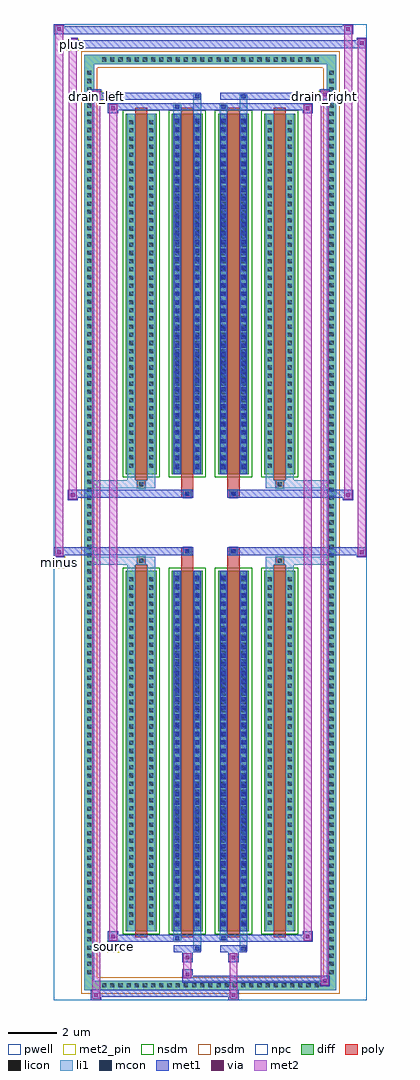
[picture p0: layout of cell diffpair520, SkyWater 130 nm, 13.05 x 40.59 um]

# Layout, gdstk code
import gdstk
lib = gdstk.Library(unit=1e-6, precision=5e-09)
def R(c, l, rs):  # rectangles x0, y0, x1, y1
    for r in rs: c.add(gdstk.rectangle(r[:2], r[2:], *l))
def A(c, l, x, y, w, h, nx, ny, dx, dy):  # array of equal rectangles
    R(c, l, [(x+i*dx, y+j*dy, x+i*dx+w, y+j*dy+h) for i in range(nx) for j in range(ny)])
def P(c, l, *ps):  # polygons
    for p in ps: c.add(gdstk.Polygon(p, *l))
pwell = (64, 44)
diff = (65, 20)
poly = (66, 20)
licon = (66, 44)
li1 = (67, 20)
mcon = (67, 44)
met1 = (68, 20)
via = (68, 44)
met2_pin = (69, 16)
met2 = (69, 20)
nsdm = (93, 44)
psdm = (94, 20)
npc = (95, 20)

diffpair520 = lib.new_cell('diffpair520')
R(diffpair520, pwell, [(-6.51,-19.86,6.51,20.73), (-3.83,-18.05,-0.01,-0.825), (0.01,-18.05,3.83,-0.825), (-3.83,0.825,-0.01,18.05), (0.01,0.825,3.83,18.05)])
A(diffpair520, diff, -4.625, -19.46, 0.41, 0.41, 27, 2, 0.34, 38.51)
A(diffpair520, diff, -5.24, -18.905, 0.41, 0.41, 1, 111, 0, 0.34)
A(diffpair520, diff, 4.83, -18.905, 0.41, 0.41, 1, 111, 0, 0.34)
A(diffpair520, diff, -3.52, -17.005, 1.28, 15, 4, 2, 1.92, 19.01)
R(diffpair520, diff, [(-4.625,-19.46,4.625,-19.05), (-5.24,-18.905,-4.83,18.905), (4.83,-18.905,5.24,18.905), (-4.625,19.05,4.625,19.46)])
P(diffpair520, diff, [(5.24,19.46),(-5.24,19.46),(-5.24,-19.05),(-4.83,-19.05),(-4.83,19.05),(4.83,19.05),(4.83,-19.05),(-4.83,-19.05),(-5.24,-19.05),(-5.24,-19.46),(5.24,-19.46)])
A(diffpair520, poly, -3.13, -17.255, 0.5, 15.5, 4, 2, 1.92, 19.01)
R(diffpair520, poly, [(-3.045,-1.755,-2.715,-1.425), (-3.045,-1.755,-2.715,-1.425), (-1.21,-1.755,-0.71,-1.355), (0.71,-1.755,1.21,-1.355), (2.715,-1.755,3.045,-1.425), (2.715,-1.755,3.045,-1.425), (-1.21,-1.355,-0.71,-1.025), (-1.125,-1.355,-0.795,-1.025), (0.71,-1.355,1.21,-1.025), (0.795,-1.355,1.125,-1.025), (-1.21,1.025,-0.71,1.355), (-1.125,1.025,-0.795,1.355), (0.71,1.025,1.21,1.355), (0.795,1.025,1.125,1.355), (-1.21,1.355,-0.71,1.755), (0.71,1.355,1.21,1.755), (-3.045,1.425,-2.715,1.755), (-3.045,1.425,-2.715,1.755), (2.715,1.425,3.045,1.755), (2.715,1.425,3.045,1.755)])
A(diffpair520, licon, -4.505, -19.34, 0.17, 0.17, 27, 2, 0.34, 38.51)
A(diffpair520, licon, -5.12, -18.785, 0.17, 0.17, 1, 111, 0, 0.34)
A(diffpair520, licon, 4.95, -18.785, 0.17, 0.17, 1, 111, 0, 0.34)
A(diffpair520, licon, -3.38, -16.73, 0.17, 0.17, 1, 43, 0, 0.34)
A(diffpair520, licon, -2.55, -16.73, 0.17, 0.17, 1, 43, 0, 0.34)
A(diffpair520, licon, -1.46, -16.73, 0.17, 0.17, 1, 43, 0, 0.34)
A(diffpair520, licon, -0.63, -16.73, 0.17, 0.17, 1, 43, 0, 0.34)
A(diffpair520, licon, 0.46, -16.73, 0.17, 0.17, 1, 43, 0, 0.34)
A(diffpair520, licon, 1.29, -16.73, 0.17, 0.17, 1, 43, 0, 0.34)
A(diffpair520, licon, 2.38, -16.73, 0.17, 0.17, 1, 43, 0, 0.34)
A(diffpair520, licon, 3.21, -16.73, 0.17, 0.17, 1, 43, 0, 0.34)
A(diffpair520, licon, -3.38, 2.28, 0.17, 0.17, 1, 43, 0, 0.34)
A(diffpair520, licon, -2.55, 2.28, 0.17, 0.17, 1, 43, 0, 0.34)
A(diffpair520, licon, -1.46, 2.28, 0.17, 0.17, 1, 43, 0, 0.34)
A(diffpair520, licon, -0.63, 2.28, 0.17, 0.17, 1, 43, 0, 0.34)
A(diffpair520, licon, 0.46, 2.28, 0.17, 0.17, 1, 43, 0, 0.34)
A(diffpair520, licon, 1.29, 2.28, 0.17, 0.17, 1, 43, 0, 0.34)
A(diffpair520, licon, 2.38, 2.28, 0.17, 0.17, 1, 43, 0, 0.34)
A(diffpair520, licon, 3.21, 2.28, 0.17, 0.17, 1, 43, 0, 0.34)
R(diffpair520, licon, [(-2.965,-1.675,-2.795,-1.505), (2.795,-1.675,2.965,-1.505), (-1.045,-1.275,-0.875,-1.105), (0.875,-1.275,1.045,-1.105), (-1.045,1.105,-0.875,1.275), (0.875,1.105,1.045,1.275), (-2.965,1.505,-2.795,1.675), (2.795,1.505,2.965,1.675)])
A(diffpair520, li1, -4.585, -19.42, 0.33, 0.33, 27, 2, 0.34, 38.51)
A(diffpair520, li1, -5.2, -18.865, 0.33, 0.33, 1, 111, 0, 0.34)
A(diffpair520, li1, 4.87, -18.865, 0.33, 0.33, 1, 111, 0, 0.34)
A(diffpair520, li1, -3.46, -16.81, 0.33, 0.33, 1, 43, 0, 0.34)
A(diffpair520, li1, -2.63, -16.81, 0.33, 0.33, 1, 43, 0, 0.34)
A(diffpair520, li1, -1.54, -16.81, 0.33, 0.33, 1, 43, 0, 0.34)
A(diffpair520, li1, -0.71, -16.81, 0.33, 0.33, 1, 43, 0, 0.34)
A(diffpair520, li1, 0.38, -16.81, 0.33, 0.33, 1, 43, 0, 0.34)
A(diffpair520, li1, 1.21, -16.81, 0.33, 0.33, 1, 43, 0, 0.34)
A(diffpair520, li1, 2.3, -16.81, 0.33, 0.33, 1, 43, 0, 0.34)
A(diffpair520, li1, 3.13, -16.81, 0.33, 0.33, 1, 43, 0, 0.34)
A(diffpair520, li1, -1.46, -16.79, 0.17, 0.17, 1, 41, 0, 0.36)
A(diffpair520, li1, -0.63, -16.79, 0.17, 0.17, 1, 41, 0, 0.36)
A(diffpair520, li1, 0.46, -16.79, 0.17, 0.17, 1, 41, 0, 0.36)
A(diffpair520, li1, 1.29, -16.79, 0.17, 0.17, 1, 41, 0, 0.36)
A(diffpair520, li1, -3.46, 2.2, 0.33, 0.33, 1, 43, 0, 0.34)
A(diffpair520, li1, -2.63, 2.2, 0.33, 0.33, 1, 43, 0, 0.34)
A(diffpair520, li1, -1.54, 2.2, 0.33, 0.33, 1, 43, 0, 0.34)
A(diffpair520, li1, -0.71, 2.2, 0.33, 0.33, 1, 43, 0, 0.34)
A(diffpair520, li1, 0.38, 2.2, 0.33, 0.33, 1, 43, 0, 0.34)
A(diffpair520, li1, 1.21, 2.2, 0.33, 0.33, 1, 43, 0, 0.34)
A(diffpair520, li1, 2.3, 2.2, 0.33, 0.33, 1, 43, 0, 0.34)
A(diffpair520, li1, 3.13, 2.2, 0.33, 0.33, 1, 43, 0, 0.34)
A(diffpair520, li1, -1.46, 2.22, 0.17, 0.17, 1, 41, 0, 0.36)
A(diffpair520, li1, -0.63, 2.22, 0.17, 0.17, 1, 41, 0, 0.36)
A(diffpair520, li1, 0.46, 2.22, 0.17, 0.17, 1, 41, 0, 0.36)
A(diffpair520, li1, 1.29, 2.22, 0.17, 0.17, 1, 41, 0, 0.36)
R(diffpair520, li1, [(-5.24,-19.46,-4.83,-19.05), (-5.24,-19.46,-4.83,-19.05), (-4.83,-19.46,4.83,-19.05), (4.83,-19.46,5.24,-19.05), (4.83,-19.46,5.24,-19.05), (-5.24,-19.05,-4.83,19.05), (4.83,-19.05,5.24,19.05), (-0.71,-17.81,-0.38,-17.005), (-0.63,-17.81,-0.46,-17.64), (1.21,-17.81,1.54,-17.005), (1.29,-17.81,1.46,-17.64), (-1.54,-17.38,-1.21,-17.005), (-1.46,-17.38,-1.29,-17.21), (0.38,-17.38,0.71,-17.005), (0.46,-17.38,0.63,-17.21), (-3.46,-17.005,-3.13,-2.005), (-2.63,-17.005,-2.3,-2.005), (-1.54,-17.005,-1.21,-2.005), (-0.71,-17.005,-0.38,-2.005), (0.38,-17.005,0.71,-2.005), (1.21,-17.005,1.54,-2.005), (2.3,-17.005,2.63,-2.005), (3.13,-17.005,3.46,-2.005), (-1.46,-16.79,-1.29,-2.22), (-0.63,-16.79,-0.46,-2.22), (0.46,-16.79,0.63,-2.22), (1.29,-16.79,1.46,-2.22), (-3.46,-2.005,-3.13,-1.425), (-2.63,-2.005,-2.3,-1.425), (2.3,-2.005,2.63,-1.425), (3.13,-2.005,3.46,-1.425), (-5.24,-1.755,-3.045,-1.425), (-3.46,-1.755,-3.045,-1.425), (-3.045,-1.755,-2.715,-1.425), (-2.715,-1.755,-2.3,-1.425), (2.3,-1.755,2.715,-1.425), (2.715,-1.755,3.045,-1.425), (2.715,-1.755,5.24,-1.425), (3.045,-1.755,3.46,-1.425), (-1.125,-1.355,-0.795,-1.025), (0.795,-1.355,1.125,-1.025), (-1.125,1.025,-0.795,1.355), (0.795,1.025,1.125,1.355), (-5.24,1.425,-3.045,1.755), (-3.46,1.425,-3.045,1.755), (-3.46,1.425,-3.13,2.005), (-3.045,1.425,-2.715,1.755), (-2.715,1.425,-2.3,1.755), (-2.63,1.425,-2.3,2.005), (2.3,1.425,2.715,1.755), (2.3,1.425,2.63,2.005), (2.715,1.425,3.045,1.755), (2.715,1.425,5.24,1.755), (3.045,1.425,3.46,1.755), (3.13,1.425,3.46,2.005), (-3.46,2.005,-3.13,17.005), (-2.63,2.005,-2.3,17.005), (-1.54,2.005,-1.21,17.005), (-0.71,2.005,-0.38,17.005), (0.38,2.005,0.71,17.005), (1.21,2.005,1.54,17.005), (2.3,2.005,2.63,17.005), (3.13,2.005,3.46,17.005), (-1.46,2.22,-1.29,16.79), (-0.63,2.22,-0.46,16.79), (0.46,2.22,0.63,16.79), (1.29,2.22,1.46,16.79), (-1.54,17.005,-1.21,17.38), (-0.71,17.005,-0.38,17.81), (0.38,17.005,0.71,17.38), (1.21,17.005,1.54,17.81), (-1.46,17.21,-1.29,17.38), (0.46,17.21,0.63,17.38), (-0.63,17.64,-0.46,17.81), (1.29,17.64,1.46,17.81), (-5.24,19.05,-4.83,19.46), (-5.24,19.05,-4.83,19.46), (-4.83,19.05,4.83,19.46), (4.83,19.05,5.24,19.46), (4.83,19.05,5.24,19.46)])
A(diffpair520, mcon, -1.46, -16.79, 0.17, 0.17, 1, 41, 0, 0.36)
A(diffpair520, mcon, -0.63, -16.79, 0.17, 0.17, 1, 41, 0, 0.36)
A(diffpair520, mcon, 0.46, -16.79, 0.17, 0.17, 1, 41, 0, 0.36)
A(diffpair520, mcon, 1.29, -16.79, 0.17, 0.17, 1, 41, 0, 0.36)
A(diffpair520, mcon, -1.46, 2.22, 0.17, 0.17, 1, 41, 0, 0.36)
A(diffpair520, mcon, -0.63, 2.22, 0.17, 0.17, 1, 41, 0, 0.36)
A(diffpair520, mcon, 0.46, 2.22, 0.17, 0.17, 1, 41, 0, 0.36)
A(diffpair520, mcon, 1.29, 2.22, 0.17, 0.17, 1, 41, 0, 0.36)
R(diffpair520, mcon, [(-0.63,-17.81,-0.46,-17.64), (1.29,-17.81,1.46,-17.64), (-1.46,-17.38,-1.29,-17.21), (0.46,-17.38,0.63,-17.21), (-1.045,-1.275,-0.875,-1.105), (0.875,-1.275,1.045,-1.105), (-1.045,1.105,-0.875,1.275), (0.875,1.105,1.045,1.275), (-1.46,17.21,-1.29,17.38), (0.46,17.21,0.63,17.38), (-0.63,17.64,-0.46,17.81), (1.29,17.64,1.46,17.81)])
A(diffpair520, met1, -1.52, -16.85, 0.29, 0.29, 1, 41, 0, 0.36)
A(diffpair520, met1, -0.69, -16.85, 0.29, 0.29, 1, 41, 0, 0.36)
A(diffpair520, met1, 0.4, -16.85, 0.29, 0.29, 1, 41, 0, 0.36)
A(diffpair520, met1, 1.23, -16.85, 0.29, 0.29, 1, 41, 0, 0.36)
A(diffpair520, met1, -1.52, 2.16, 0.29, 0.29, 1, 41, 0, 0.36)
A(diffpair520, met1, -0.69, 2.16, 0.29, 0.29, 1, 41, 0, 0.36)
A(diffpair520, met1, 0.4, 2.16, 0.29, 0.29, 1, 41, 0, 0.36)
A(diffpair520, met1, 1.23, 2.16, 0.29, 0.29, 1, 41, 0, 0.36)
R(diffpair520, met1, [(-4.97,-19.86,-4.54,-19.43), (0.745,-19.86,1.175,-19.43), (-4.97,-19.72,1.175,-19.43), (4.54,-19.29,4.97,-18.86), (-1.175,-19.15,4.97,-18.86), (-1.175,-19.01,-0.745,-18.58), (-1.175,-18.3,-0.745,-17.87), (0.745,-18.3,1.175,-17.87), (-1.52,-17.87,-0.4,-17.58), (-0.69,-17.87,-0.4,-17.58), (0.4,-17.87,1.52,-17.58), (1.23,-17.87,1.52,-17.58), (-4.26,-17.44,-3.83,-17.01), (-4.26,-17.44,-1.52,-17.15), (-1.52,-17.44,-1.23,-17.15), (-1.52,-17.44,-0.4,-17.15), (-0.4,-17.44,0.4,-17.15), (0.4,-17.44,0.69,-17.15), (0.4,-17.44,1.52,-17.15), (1.52,-17.44,4.26,-17.15), (3.83,-17.44,4.26,-17.01), (-1.52,-17.005,-1.23,-2.005), (-0.69,-17.005,-0.4,-2.005), (0.4,-17.005,0.69,-2.005), (1.23,-17.005,1.52,-2.005), (-6.51,-1.455,-6.08,-1.025), (6.08,-1.455,6.51,-1.025), (-6.51,-1.355,-0.71,-1.025), (-1.21,-1.355,-0.71,-1.025), (0.71,-1.355,1.21,-1.025), (0.71,-1.355,6.51,-1.025), (-1.105,-1.335,-0.815,-1.045), (0.815,-1.335,1.105,-1.045), (-5.94,0.925,-5.51,1.355), (5.51,0.925,5.94,1.355), (-5.94,1.025,-1.21,1.355), (-1.21,1.025,-0.71,1.355), (0.71,1.025,1.21,1.355), (1.21,1.025,5.94,1.355), (-1.105,1.045,-0.815,1.335), (0.815,1.045,1.105,1.335), (-1.52,2.005,-1.23,17.005), (-0.69,2.005,-0.4,17.005), (0.4,2.005,0.69,17.005), (1.23,2.005,1.52,17.005), (-4.26,17.01,-3.83,17.44), (3.83,17.01,4.26,17.44), (-4.26,17.15,-1.52,17.44), (-1.52,17.15,-1.23,17.44), (-1.52,17.15,-0.4,17.44), (-0.4,17.15,0.4,17.44), (0.4,17.15,0.69,17.44), (0.4,17.15,1.52,17.44), (1.52,17.15,4.26,17.44), (-4.97,17.58,-4.54,18.01), (-4.97,17.58,-1.52,17.87), (-1.52,17.58,-0.4,17.87), (-0.69,17.58,-0.4,17.87), (0.4,17.58,1.52,17.87), (1.23,17.58,1.52,17.87), (1.52,17.58,4.97,17.87), (4.54,17.58,4.97,18.01), (-5.94,19.73,-5.51,20.16), (-5.94,19.73,-3.83,20.06), (-3.83,19.73,3.83,20.06), (3.83,19.73,6.51,20.06), (6.08,19.73,6.51,20.16), (-6.51,20.3,-6.08,20.73), (-6.51,20.3,-3.83,20.63), (-3.83,20.3,3.83,20.63), (3.83,20.3,5.94,20.63), (5.51,20.3,5.94,20.73)])
R(diffpair520, via, [(-4.83,-19.72,-4.68,-19.57), (0.885,-19.72,1.035,-19.57), (4.68,-19.15,4.83,-19), (-1.035,-18.87,-0.885,-18.72), (-1.035,-18.16,-0.885,-18.01), (0.885,-18.16,1.035,-18.01), (-4.12,-17.3,-3.97,-17.15), (3.97,-17.3,4.12,-17.15), (-6.37,-1.315,-6.22,-1.165), (6.22,-1.315,6.37,-1.165), (-5.8,1.065,-5.65,1.215), (5.65,1.065,5.8,1.215), (-4.12,17.15,-3.97,17.3), (3.97,17.15,4.12,17.3), (-4.83,17.72,-4.68,17.87), (4.68,17.72,4.83,17.87), (-5.8,19.87,-5.65,20.02), (6.22,19.87,6.37,20.02), (-6.37,20.44,-6.22,20.59), (5.65,20.44,5.8,20.59)])
R(diffpair520, met2_pin, [(-4.295,-17.89,-3.795,-17.39), (-6.545,-1.905,-6.045,-1.405), (-5.005,17.46,-4.505,17.96), (4.505,17.46,5.005,17.96), (-5.975,19.61,-5.475,20.11)])
R(diffpair520, met2, [(-4.92,-19.81,-4.59,-19.48), (-4.92,-19.81,-4.59,17.96), (0.795,-19.81,1.125,-19.48), (0.795,-19.48,1.125,-18.25), (4.59,-19.24,4.92,-18.91), (4.59,-19.24,4.92,17.96), (-1.125,-18.96,-0.795,-18.63), (-1.125,-18.63,-0.795,-18.25), (-1.125,-18.25,-0.795,-17.92), (0.795,-18.25,1.125,-17.92), (-4.21,-17.39,-3.88,-17.06), (-4.21,-17.39,-3.88,17.39), (3.88,-17.39,4.21,-17.06), (3.88,-17.39,4.21,17.39), (-6.46,-1.405,-6.13,-1.075), (-6.46,-1.405,-6.13,20.68), (6.13,-1.405,6.46,-1.075), (6.13,-1.405,6.46,20.11), (-5.89,0.975,-5.56,1.305), (-5.89,0.975,-5.56,20.11), (5.56,0.975,5.89,1.305), (5.56,0.975,5.89,20.68), (-4.21,17.06,-3.88,17.39), (3.88,17.06,4.21,17.39), (-4.92,17.63,-4.59,17.96), (4.59,17.63,4.92,17.96), (-5.89,19.78,-5.56,20.11), (6.13,19.78,6.46,20.11), (-6.46,20.35,-6.13,20.68), (5.56,20.35,5.89,20.68)])
P(diffpair520, met2, [(6.46,-1.405),(6.46,-1.405),(6.46,-1.075),(6.46,-1.075)],
  [(6.46,19.78),(6.46,19.78),(6.46,20.11),(6.46,20.11)],
  [(-6.13,-1.405),(-6.13,-1.405),(-6.13,-1.075),(-6.13,-1.075)],
  [(-6.13,20.35),(-6.13,20.35),(-6.13,20.68),(-6.13,20.68)],
  [(5.89,0.975),(5.89,0.975),(5.89,1.305),(5.89,1.305)],
  [(5.89,20.35),(5.89,20.35),(5.89,20.68),(5.89,20.68)],
  [(-5.56,0.975),(-5.56,0.975),(-5.56,1.305),(-5.56,1.305)],
  [(-5.56,19.78),(-5.56,19.78),(-5.56,20.11),(-5.56,20.11)],
  [(-4.59,-19.81),(-4.59,-19.81),(-4.59,-19.48),(-4.59,-19.48)],
  [(-4.59,17.63),(-4.59,17.63),(-4.59,17.96),(-4.59,17.96)],
  [(4.92,-19.24),(4.92,-19.24),(4.92,-18.91),(4.92,-18.91)],
  [(4.92,17.63),(4.92,17.63),(4.92,17.96),(4.92,17.96)],
  [(-3.88,-17.39),(-3.88,-17.39),(-3.88,-17.06),(-3.88,-17.06)],
  [(-3.88,17.06),(-3.88,17.06),(-3.88,17.39),(-3.88,17.39)],
  [(4.21,-17.39),(4.21,-17.39),(4.21,-17.06),(4.21,-17.06)],
  [(4.21,17.06),(4.21,17.06),(4.21,17.39),(4.21,17.39)])
A(diffpair520, nsdm, -3.65, -17.135, 1.54, 15.26, 4, 2, 1.92, 19.01)
P(diffpair520, psdm, [(5.37,19.59),(-5.37,19.59),(-5.37,-18.92),(-4.7,-18.92),(-4.7,18.92),(4.7,18.92),(4.7,-18.92),(-4.7,-18.92),(-5.37,-18.92),(-5.37,-19.59),(5.37,-19.59)])
R(diffpair520, npc, [(-3.065,-1.775,-2.695,-1.405), (2.695,-1.775,3.065,-1.405), (-1.145,-1.375,-0.775,-1.005), (0.775,-1.375,1.145,-1.005), (-1.145,1.005,-0.775,1.375), (0.775,1.005,1.145,1.375), (-3.065,1.405,-2.695,1.775), (2.695,1.405,3.065,1.775)])
diffpair520.add(gdstk.Label('minus', (-6.295,-1.655), layer=69, texttype=5))
diffpair520.add(gdstk.Label('drain_right', (4.755,17.71), layer=69, texttype=5))
diffpair520.add(gdstk.Label('drain_left', (-4.755,17.71), layer=69, texttype=5))
diffpair520.add(gdstk.Label('source', (-4.045,-17.64), layer=69, texttype=5))
diffpair520.add(gdstk.Label('plus', (-5.725,19.86), layer=69, texttype=5))

lib.write_gds('diffpair520.gds')
